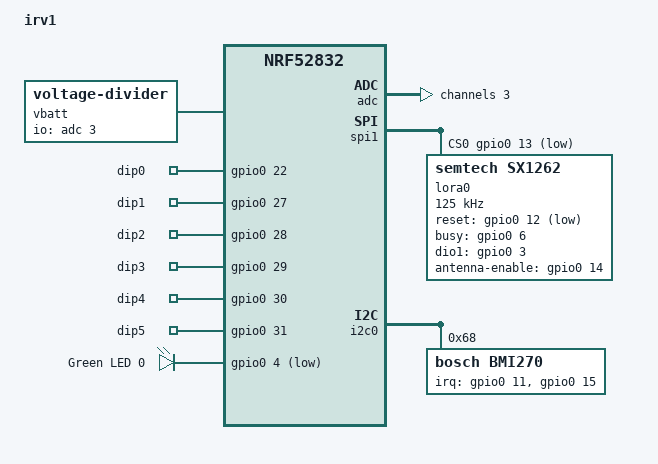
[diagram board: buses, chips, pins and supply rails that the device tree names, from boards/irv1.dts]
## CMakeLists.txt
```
#
# Copyright (c) 2021 Bosch Sensortec GmbH
#
# SPDX-License-Identifier: Apache-2.0
#

cmake_minimum_required(VERSION 3.20.0)
find_package(Zephyr HINTS $ENV{ZEPHYR_BASE})
project(NONE)

add_subdirectory(Users/vin/git/bmi270_zephyr_api/bmi270)

FILE(GLOB app_sources src/*.c)
target_sources(app PRIVATE ${app_sources})
```

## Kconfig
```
source "Kconfig.zephyr"
rsource "/Users/vin/git/bmi270_zephyr_api/bmi270/Kconfig"
```

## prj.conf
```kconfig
CONFIG_SPI=y
CONFIG_SENSOR=y
CONFIG_NEWLIB_LIBC=y
CONFIG_NEWLIB_LIBC_FLOAT_PRINTF=y
CONFIG_BMI270_TRIGGER_OWN_THREAD=y
CONFIG_SOC_NRF52832_ALLOW_SPIM_DESPITE_PAN_58=y
```

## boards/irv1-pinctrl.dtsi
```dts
/*
 * Copyright (c) 2022 Nordic Semiconductor
 * SPDX-License-Identifier: Apache-2.0
 */

 &pinctrl {
	i2c0_default: i2c0_default {
		group1 {
			psels = <NRF_PSEL(TWIM_SCL, 0, 19)>,
					<NRF_PSEL(TWIM_SDA, 0, 20)>;
					bias-pull-up;
		};
	};
	i2c0_sleep: i2c0_sleep {
		group1 {
			psels = <NRF_PSEL(TWIM_SCL, 0, 19)>,
					<NRF_PSEL(TWIM_SDA, 0, 20)>;
					low-power-enable;
		};
	};
	spi1_default: spi1_default {
		group1 {
			psels = <NRF_PSEL(SPIM_SCK, 0, 8)>,
				<NRF_PSEL(SPIM_MOSI, 0, 2)>,
				<NRF_PSEL(SPIM_MISO, 0, 7)>;
		};
	};
	spi1_sleep: spi1_sleep {
		group1 {
			psels = <NRF_PSEL(SPIM_SCK, 0, 8)>,
				<NRF_PSEL(SPIM_MOSI, 0, 2)>,
				<NRF_PSEL(SPIM_MISO, 0, 7)>; 
		};
	};
};
```

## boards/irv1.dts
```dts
// Copyright (c) 2023 Nordic Semiconductor ASA
// SPDX-License-Identifier: Apache-2.0

/dts-v1/;
#include <nordic/nrf52832_qfaa.dtsi>
#include "irv1-pinctrl.dtsi"

/ {
	model = "irv1";
	compatible = "sensorView,irv1";

	chosen {
		zephyr,sram = &sram0;
		zephyr,flash = &flash0;
		zephyr,code-partition = &slot0_partition;
	};
	vbatt {
		compatible = "voltage-divider";
		io-channels = <&adc 3>;
		output-ohms = <1000>;
		full-ohms = <(4700 + 1000)>;
		/* power-gpios = <&gpio0 4 0>; */
	 };

	 dips {
		compatible = "gpio-keys";
		dip0: dip_0 {
			gpios = <&gpio0 22 GPIO_ACTIVE_HIGH>;
		};
		dip1: dip_1 {
			gpios = <&gpio0 27 GPIO_ACTIVE_HIGH>;
		};
		dip2: dip_2 {
			gpios = <&gpio0 28 GPIO_ACTIVE_HIGH>;
		};
		dip3: dip_3 {
			gpios = <&gpio0 29 GPIO_ACTIVE_HIGH>;
		};
		dip4: dip_4 {
			gpios = <&gpio0 30 GPIO_ACTIVE_HIGH>;
		};
		dip5: dip_5 {
			gpios = <&gpio0 31 GPIO_ACTIVE_HIGH>;
		};
	 };
	 leds {
		compatible = "gpio-leds";
		led0: led_0 {
			gpios = <&gpio0 4 (GPIO_ACTIVE_LOW | GPIO_OPEN_DRAIN)>;
			label = "Green LED 0";
		};
	};
	/* pyd1598: pir0 {
        compatible = "excelitas,pyd1598";
		serial-in-gpios = <&gpio0 16 GPIO_ACTIVE_HIGH>;
        direct-link-gpios = <&gpio0 17 GPIO_ACTIVE_HIGH>;
        status = "okay";
    }; */
	
	/* These aliases are provided for compatibility with samples */
	aliases {
		led0 = &led0;

		dip0 = &dip0;
		dip1 = &dip1;
		dip2 = &dip2;
		dip3 = &dip3;
		dip4 = &dip4;
		dip5 = &dip5;
		
		/* pir0 = &pyd1598; */

		/* serin = &serin_gpio;
		dlink = &dlink_gpio; */
		bmi270-sensor = &bmi270;

		lora0 = &lora0;
		bootloader-led0 = &led0;
		mcuboot-led0 = &led0;
		watchdog0 = &wdt0;
	};
};
&adc {
	status = "okay";
	#address-cells = <1>;
	#size-cells = <0>;
	channel@3 {
		reg = <3>;
		zephyr,gain = "ADC_GAIN_1_6";
		zephyr,reference = "ADC_REF_INTERNAL";
		zephyr,acquisition-time = <ADC_ACQ_TIME_DEFAULT>;
		zephyr,input-positive = <NRF_SAADC_AIN3>; // P0.05
		zephyr,resolution = <12>;
	};
};

&gpiote {
	status = "okay";
};

&gpio0 {
	status = "okay";
};

&spi1 {
	status = "okay";
	compatible = "nordic,nrf-spim";
	 /* Cannot be used together with i2c0. spi0 */
	pinctrl-0 = <&spi1_default>;
	pinctrl-1 = <&spi1_sleep>;
	pinctrl-names = "default", "sleep";
	cs-gpios = < &gpio0 13 (GPIO_ACTIVE_LOW | GPIO_PUSH_PULL) >;  //check and change chip select pin
	//cs-gpios = < &gpio0 26 (GPIO_ACTIVE_LOW | GPIO_PULL_UP) > original test board pin 26
	anomaly-58-workaround;
	//wakeup-source;

	lora0: sx1262@0 {
		reg = <0>;
		compatible = "semtech,sx1262";
		status = "okay";
		spi-max-frequency = <DT_FREQ_K(125)>;

		reset-gpios = <&gpio0 12 (GPIO_ACTIVE_LOW | GPIO_PULL_UP )>;
		busy-gpios = < &gpio0 6 (GPIO_ACTIVE_HIGH | GPIO_PULL_DOWN ) >;
		dio1-gpios = < &gpio0 3 (GPIO_ACTIVE_HIGH | GPIO_PULL_DOWN ) >;
		//tx-enable-gpios = <&gpio0 17 GPIO_ACTIVE_LOW >;
		//rx-enable-gpios = <&gpio0 19 GPIO_ACTIVE_LOW >;

		//SW pin supplies RF switch power -> not required  for our rf switch
		antenna-enable-gpios = < &gpio0 14 GPIO_ACTIVE_HIGH >; 
		//enable the DIO2 pin on sx1262 -> we use tx and rx not dio2, could be used as an interrupt
		dio2-tx-enable;  
		
		/* //When using a TCXO, currently using a standard crystal
		dio3-tcxo-voltage = < 0x07 >; // SX126X_DIO3_TCXO_3V3 not available on Dorji
		tcxo-power-startup-delay-ms = <5>; */
		
	};
 };
&i2c0 {
    status = "okay";
	compatible = "nordic,nrf-twi";
	pinctrl-0 = <&i2c0_default>;
	pinctrl-1 = <&i2c0_sleep>;
	pinctrl-names = "default", "sleep";
	/* zephyr,concat-buf-size = < 255 >;
	zephyr,flash-buf-max-size = < 255 >;
	clock-frequency = <100000>; */
    bmi270: bmi270@68 {
		compatible = "bosch,bmi270";
        reg = <0x68>;
		irq-gpios = <&gpio0 11 (GPIO_ACTIVE_HIGH | GPIO_PULL_DOWN)>,
					<&gpio0 15 (GPIO_ACTIVE_HIGH | GPIO_PULL_DOWN)>;	
        friendly-name = "BMI270";
    };
};

&flash0 {
	partitions {
		compatible = "fixed-partitions";
		#address-cells = <1>;
		#size-cells = <1>;

		boot_partition: partition@0 {
			label = "mcuboot";
			reg = <0x00000000 0xc000>;
		};
		slot0_partition: partition@c000 {
			label = "image-0";
			reg = <0x0000C000 0x32000>;
		};
		slot1_partition: partition@3e000 {
			label = "image-1";
			reg = <0x0003E000 0x32000>;
		};
		scratch_partition: partition@70000 {
			label = "image-scratch";
			reg = <0x00070000 0xa000>;
		};
		storage_partition: partition@7a000 {
			label = "storage";
			reg = <0x0007a000 0x6000>;
		};
	};
};
```

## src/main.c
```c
/*
 * Kazimierz Roman
 */

#include <zephyr/kernel.h>
#include <zephyr/device.h>
#include <zephyr/drivers/sensor.h>
#include <stdio.h>
#include "bmi270_api.h"
#include </Users/vin/git/bmi270_zephyr_api/bmi270/bmi270.h>

struct bmi270_feature_reg bmi270_feature_reg_anymo_1 = {
	.page = 1,
	.addr = 0x3C,
};

struct bmi270_feature_reg bmi270_feature_reg_anymo_2 = {
	.page = 1,
	.addr = 0x3E,
};
struct bmi270_feature_reg bmi270_feature_reg_nomo_1 = {
	.page = 2,
	.addr = 0x30,
};
struct bmi270_feature_reg bmi270_feature_reg_nomo_2 = {
	.page = 2,
	.addr = 0x32,
};

void anymo_trigger_handler(const struct device *dev,
						   const struct sensor_trigger *trig)
{
	struct sensor_value acc[3];
	static size_t cnt;
	int rc;
	++cnt;
	rc = sensor_sample_fetch(dev);
	if (rc != 0)
	{
		printf("sensor_sample_fetch error: %d\n", rc);
	}
	rc = sensor_channel_get(dev, SENSOR_CHAN_ACCEL_XYZ, acc);
	if (rc != 0)
	{
		printf("sensor_channel_get error: %d\n", rc);
	}
	printf("anymo trigger fired %u, AX: %d.%06d; AY: %d.%06d; AZ: %d.%06d;\n", cnt,
		   acc[0].val1, acc[0].val2, acc[1].val1, acc[1].val2, acc[2].val1, acc[2].val2);
}

void nomo_trigger_handler(const struct device *dev,
						  const struct sensor_trigger *trig)
{
	struct sensor_value acc[3];
	static size_t cnt;
	int rc;
	++cnt;
	rc = sensor_sample_fetch(dev);
	if (rc != 0)
	{
		printf("sensor_sample_fetch error: %d\n", rc);
	}
	rc = sensor_channel_get(dev, SENSOR_CHAN_ACCEL_XYZ, acc);
	if (rc != 0)
	{
		printf("sensor_channel_get error: %d\n", rc);
	}
	printf("nomo trigger fired %u, AX: %d.%06d; AY: %d.%06d; AZ: %d.%06d;\n", cnt,
		   acc[0].val1, acc[0].val2, acc[1].val1, acc[1].val2, acc[2].val1, acc[2].val2);
}

int main(void)
{
	struct sensor_trigger anymo_trig;
	// struct sensor_trigger nomo_trig;

	const struct device *const dev = DEVICE_DT_GET_ONE(bosch_bmi270);
	// struct sensor_value acc[3], gyr[3];

	int ret;
	uint16_t reg_feature_read;
	uint8_t reg_read;

	bmi270_init(dev);
	
	/* for testing/exploring purposes only one interrupt triger is recommended*/
	bmi270_config_anymotion_interrupt(dev, 0x5, 0xAA);
	// bmi270_config_nomotion_interrupt(dev, 0x5, 0x90);
	bmi270_set_anymotion_trigger(dev, anymo_trigger_handler, &anymo_trig);
	// bmi270_set_nomotion_trigger(dev, nomo_trigger_handler, &nomo_trig);

	bmi270_basic_config_acc(dev, 2, 100, 1);
	bmi270_basic_config_gyr(dev, 500, 100, 1);
	bmi270_config_adv_power_save_mode(dev, 0);

	// feature config check
	ret = bmi270_feature_reg_read(dev, &bmi270_feature_reg_anymo_1, &reg_feature_read);
	printf("ret anymo_1_read: %d\n", ret);
	printf("anymo_1_read: 0x%x\n\n", reg_feature_read);

	ret = bmi270_feature_reg_read(dev, &bmi270_feature_reg_anymo_2, &reg_feature_read);
	printf("ret anymo_2_read: %d\n", ret);
	printf("anymo_2_read: 0x%x\n\n", reg_feature_read);

	ret = bmi270_feature_reg_read(dev, &bmi270_feature_reg_nomo_1, &reg_feature_read);
	printf("ret nomo_1_read: %d\n", ret);
	printf("nomo_1_read: 0x%x\n\n", reg_feature_read);

	ret = bmi270_feature_reg_read(dev, &bmi270_feature_reg_nomo_2, &reg_feature_read);
	printf("ret nomo_2_read: %d\n", ret);
	printf("nomo_2_read: 0x%x\n\n", reg_feature_read);

	// int1_map_feat check
	ret = bmi270_reg_read(dev, BMI270_REG_INT1_MAP_FEAT, &reg_read, sizeof(reg_read));
	printf("ret int1_map_feat: %d\n", ret);
	printf("int1_map_feat: 0x%x\n\n", reg_read);

	// acc conf check
	ret = bmi270_reg_read(dev, BMI270_REG_ACC_CONF, &reg_read, sizeof(reg_read));
	printf("ret acc_conf: %d\n", ret);
	printf("acc_conf: 0x%x\n\n", reg_read);

	//int_io_ctrl check
	bmi270_reg_read(dev, BMI270_REG_INT1_IO_CTRL, &reg_read, 1);
	printf("INT1_IO_CTRL: %d\n\n", reg_read);

	bmi270_reg_read(dev, BMI270_REG_INT2_IO_CTRL, &reg_read, 1);
	printf("INT2_IO_CTRL: %d\n", reg_read);

	// fifo_config check
	bmi270_reg_read(dev, BMI270_REG_FIFO_CONFIG_0, &reg_read, 1);
	printf("FIFO_CONFIG_0: 0x%x\n", reg_read);

	bmi270_reg_read(dev, BMI270_REG_FIFO_CONFIG_1, &reg_read, 1);
	printf("FIFO_CONFIG_1: 0x%x\n", reg_read);

	while (1)
	{
		k_sleep(K_MSEC(500));
		// sensor_sample_fetch(dev);
		// sensor_channel_get(dev, SENSOR_CHAN_ACCEL_XYZ, acc);
		// sensor_channel_get(dev, SENSOR_CHAN_GYRO_XYZ, gyr);
		// printf("AX: %d.%06d; AY: %d.%06d; AZ: %d.%06d; GX: %d.%06d; GY: %d.%06d; GZ: %d.%06d;\n",
		// 	   acc[0].val1, acc[0].val2,
		// 	   acc[1].val1, acc[1].val2,
		// 	   acc[2].val1, acc[2].val2,
		// 	   gyr[0].val1, gyr[0].val2,
		// 	   gyr[1].val1, gyr[1].val2,
		// 	   gyr[2].val1, gyr[2].val2);
	}
}
```
